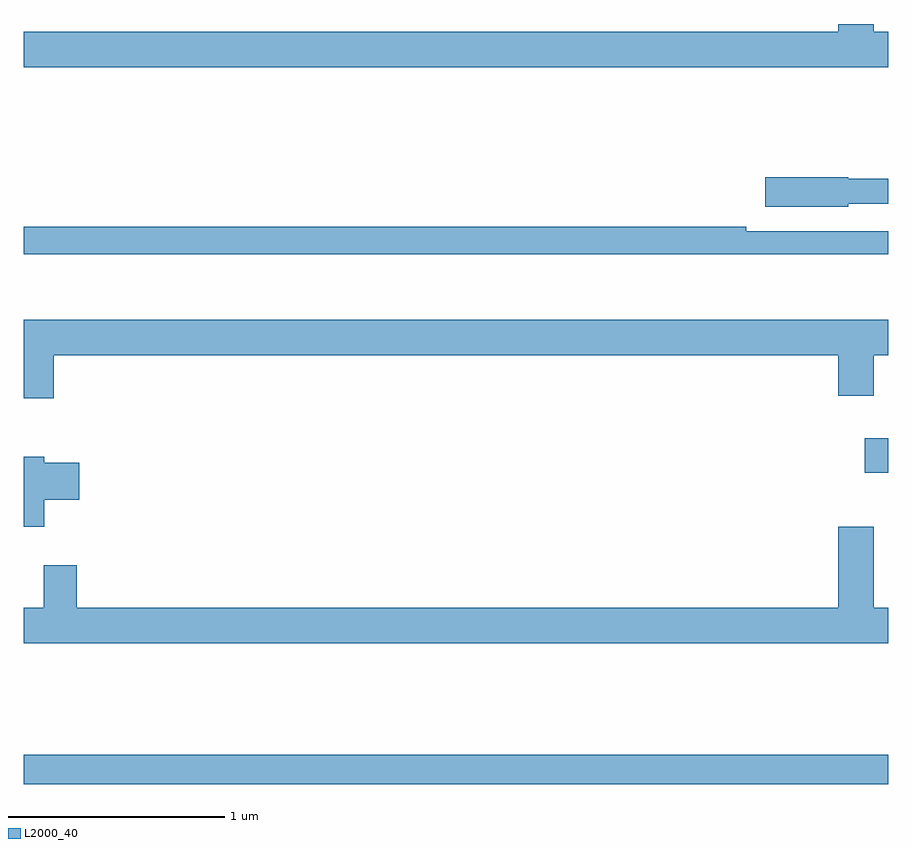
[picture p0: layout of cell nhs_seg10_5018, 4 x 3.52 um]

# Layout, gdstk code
import gdstk
lib = gdstk.Library(unit=1e-6, precision=1e-09)
def R(c, l, rs):  # rectangles x0, y0, x1, y1
    for r in rs: c.add(gdstk.rectangle(r[:2], r[2:], *l))
def P(c, l, *ps):  # polygons
    for p in ps: c.add(gdstk.Polygon(p, *l))
L2000_40 = (2000, 40)

nhs_seg10_5018 = lib.new_cell('nhs_seg10_5018')
R(nhs_seg10_5018, L2000_40, [(401,1312.984,405,1313.12), (404.892,1314.425,405,1314.583)])
P(nhs_seg10_5018, L2000_40, [(405,1316.464),(404.932,1316.464),(404.932,1316.5),(404.768,1316.5),(404.768,1316.464),(401,1316.464),(401,1316.3),(405,1316.3)],
  [(404.814,1315.668),(405,1315.668),(405,1315.784),(404.814,1315.784),(404.814,1315.79),(404.43,1315.79),(404.43,1315.655),(404.814,1315.655)],
  [(405,1315.542),(404.342,1315.542),(404.342,1315.562),(401,1315.562),(401,1315.434),(405,1315.434)],
  [(401.138,1314.968),(404.768,1314.968),(404.768,1314.78),(404.932,1314.78),(404.932,1314.968),(405,1314.968),(405,1315.132),(401,1315.132),(401,1314.768),(401.138,1314.768)],
  [(401.095,1314.298),(401.257,1314.298),(401.257,1314.471),(401.095,1314.471),(401.095,1314.499),(401,1314.499),(401,1314.174),(401.095,1314.174)],
  [(405,1313.8),(404.932,1313.8),(404.932,1314.175),(404.768,1314.175),(404.768,1313.8),(401.246,1313.8),(401.246,1313.995),(401.093,1313.995),(401.093,1313.8),(401,1313.8),(401,1313.636),(405,1313.636)])

lib.write_gds('nhs_seg10_5018.gds')
